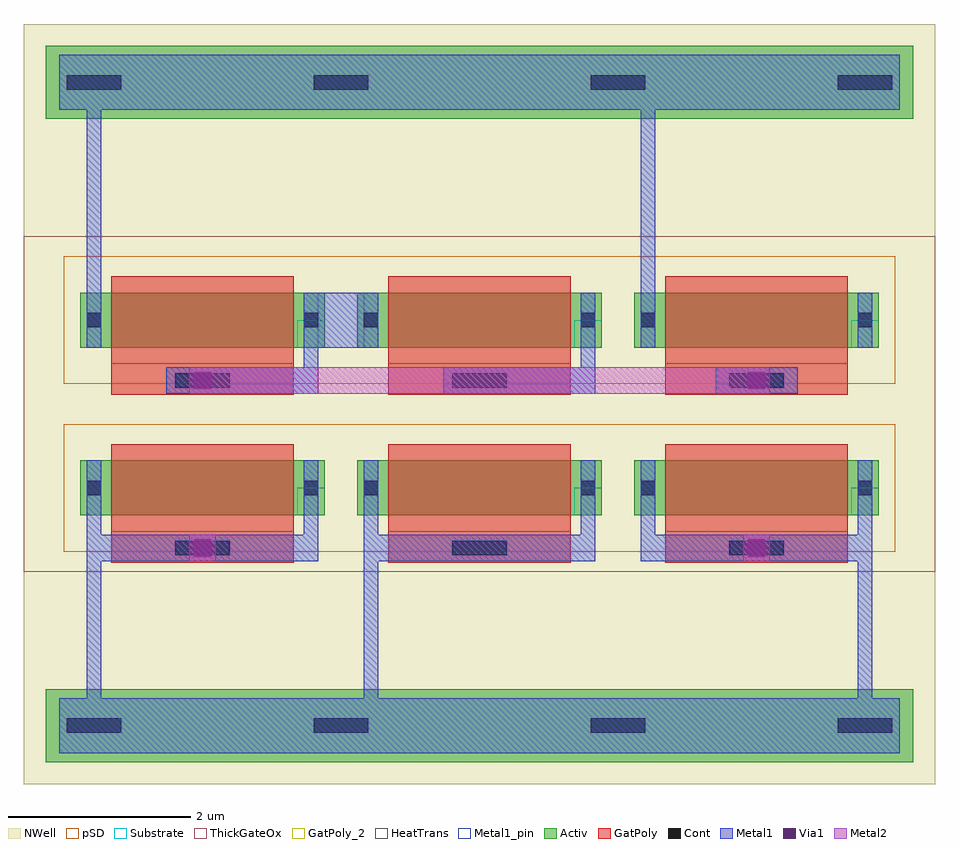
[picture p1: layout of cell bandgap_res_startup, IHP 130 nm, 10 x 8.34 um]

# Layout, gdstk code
import gdstk
lib = gdstk.Library(unit=1e-6, precision=1e-09)
def R(c, l, rs):  # rectangles x0, y0, x1, y1
    for r in rs: c.add(gdstk.rectangle(r[:2], r[2:], *l))
def A(c, l, x, y, w, h, nx, ny, dx, dy):  # array of equal rectangles
    R(c, l, [(x+i*dx, y+j*dy, x+i*dx+w, y+j*dy+h) for i in range(nx) for j in range(ny)])
Activ = (1, 0)
GatPoly = (5, 0)
GatPoly_2 = (5, 2)
Cont = (6, 0)
Metal1 = (8, 0)
Metal1_pin = (8, 2)
Metal2 = (10, 0)
pSD = (14, 0)
Via1 = (19, 0)
NWell = (31, 0)
Substrate = (40, 0)
ThickGateOx = (44, 0)
HeatTrans = (51, 0)

pmoshv_6 = lib.new_cell('pmosHV$6')
R(pmoshv_6, Activ, [(0,0,0.3,0.3), (0,0,2.68,0.6), (2.38,0,2.68,0.3)])
R(pmoshv_6, GatPoly, [(0.34,-0.18,2.34,0.78)])
R(pmoshv_6, GatPoly_2, [(0.34,-0.18,2.34,0.78)])
R(pmoshv_6, Cont, [(0.07,0.22,0.23,0.38), (2.45,0.22,2.61,0.38)])
R(pmoshv_6, Metal1, [(0.07,0,0.23,0.6), (2.45,0,2.61,0.6)])
R(pmoshv_6, Metal1_pin, [(0.07,0,0.23,0.6), (2.45,0,2.61,0.6)])
R(pmoshv_6, pSD, [(-0.18,-0.4,2.86,1)])
R(pmoshv_6, NWell, [(-0.62,-0.62,3.3,1.22)])
R(pmoshv_6, Substrate, [(2.38,0,2.68,0.3)])
R(pmoshv_6, ThickGateOx, [(-0.62,-0.62,3.3,1.22)])
R(pmoshv_6, HeatTrans, [(0.34,-0.18,2.34,0.78)])
pmoshv_6.add(gdstk.Label('pmosHV', (1.34,0.3), layer=63, texttype=0))
pmoshv_6.add(gdstk.Label('pmos', (1.34,0.3), layer=51, texttype=0))

via_stack_1 = lib.new_cell('via_stack$1')
R(via_stack_1, Metal1, [(-0.145,-0.145,0.145,0.145)])
R(via_stack_1, Metal2, [(-0.145,-0.145,0.145,0.145)])
R(via_stack_1, Via1, [(-0.095,-0.095,0.095,0.095)])

bandgap_res_startup = lib.new_cell('bandgap_res_startup')
A(bandgap_res_startup, Cont, 1.95, 11.56, 0.6, 0.16, 3, 2, 3.04, 1.84)
R(bandgap_res_startup, Cont, [(0.76,9.61,1.36,9.77), (0.76,9.61,1.36,9.77), (3.47,9.61,4.07,9.77), (3.47,9.61,4.07,9.77), (6.51,9.61,7.11,9.77), (6.51,9.61,7.11,9.77), (9.22,9.61,9.82,9.77), (9.22,9.61,9.82,9.77), (0.76,16.67,1.36,16.83), (0.76,16.67,1.36,16.83), (3.47,16.67,4.07,16.83), (3.47,16.67,4.07,16.83), (6.51,16.67,7.11,16.83), (6.51,16.67,7.11,16.83), (9.22,16.67,9.82,16.83), (9.22,16.67,9.82,16.83)])
R(bandgap_res_startup, NWell, [(0.29,9.05,10.29,11.38), (0.29,9.05,10.29,11.38), (0.29,15.06,10.29,17.39), (0.29,15.06,10.29,17.39)])
bandgap_res_startup.add(gdstk.FlexPath([(0.53,16.75),(10.05,16.75)], 0.8, ends="flush", simple_path=True, layer=1, datatype=0))  # Activ
bandgap_res_startup.add(gdstk.FlexPath([(0.53,16.75),(10.05,16.75)], 0.8, ends="flush", simple_path=True, layer=1, datatype=0))  # Activ
bandgap_res_startup.add(gdstk.FlexPath([(0.53,9.69),(10.05,9.69)], 0.8, ends="flush", simple_path=True, layer=1, datatype=0))  # Activ
bandgap_res_startup.add(gdstk.FlexPath([(0.53,9.69),(10.05,9.69)], 0.8, ends="flush", simple_path=True, layer=1, datatype=0))  # Activ
bandgap_res_startup.add(gdstk.FlexPath([(2.25,14.62),(2.25,13.32)], 2, ends="flush", simple_path=True, layer=5, datatype=0))  # GatPoly
bandgap_res_startup.add(gdstk.FlexPath([(5.29,14.62),(5.29,13.32)], 2, ends="flush", simple_path=True, layer=5, datatype=0))  # GatPoly
bandgap_res_startup.add(gdstk.FlexPath([(8.33,14.62),(8.33,13.32)], 2, ends="flush", simple_path=True, layer=5, datatype=0))  # GatPoly
bandgap_res_startup.add(gdstk.FlexPath([(2.25,12.78),(2.25,11.48)], 2, ends="flush", simple_path=True, layer=5, datatype=0))  # GatPoly
bandgap_res_startup.add(gdstk.FlexPath([(5.29,12.78),(5.29,11.48)], 2, ends="flush", simple_path=True, layer=5, datatype=0))  # GatPoly
bandgap_res_startup.add(gdstk.FlexPath([(8.33,12.78),(8.33,11.48)], 2, ends="flush", simple_path=True, layer=5, datatype=0))  # GatPoly
bandgap_res_startup.add(gdstk.FlexPath([(3.36,14.14),(4.18,14.14)], 0.6, ends="flush", simple_path=True, layer=8, datatype=0))  # Metal1
bandgap_res_startup.add(gdstk.FlexPath([(1.85,13.48),(3.52,13.48)], 0.29, ends="flush", simple_path=True, layer=8, datatype=0))  # Metal1
bandgap_res_startup.add(gdstk.FlexPath([(4.89,13.48),(6.56,13.48)], 0.29, ends="flush", simple_path=True, layer=8, datatype=0))  # Metal1
bandgap_res_startup.add(gdstk.FlexPath([(6.48,14.44),(6.48,13.335)], 0.16, ends="flush", simple_path=True, layer=8, datatype=0))  # Metal1
bandgap_res_startup.add(gdstk.FlexPath([(7.88,13.48),(8.78,13.48)], 0.29, ends="flush", simple_path=True, layer=8, datatype=0))  # Metal1
bandgap_res_startup.add(gdstk.FlexPath([(0.68,16.75),(9.9,16.75)], 0.6, ends="flush", simple_path=True, layer=8, datatype=0))  # Metal1
bandgap_res_startup.add(gdstk.FlexPath([(1.06,13.84),(1.06,17.05)], 0.16, ends="flush", simple_path=True, layer=8, datatype=0))  # Metal1
bandgap_res_startup.add(gdstk.FlexPath([(7.14,13.84),(7.14,17.05)], 0.16, ends="flush", simple_path=True, layer=8, datatype=0))  # Metal1
bandgap_res_startup.add(gdstk.FlexPath([(4.1,12.6),(4.1,9.39)], 0.16, ends="flush", simple_path=True, layer=8, datatype=0))  # Metal1
bandgap_res_startup.add(gdstk.FlexPath([(0.98,11.64),(3.52,11.64)], 0.29, ends="flush", simple_path=True, layer=8, datatype=0))  # Metal1
bandgap_res_startup.add(gdstk.FlexPath([(3.44,12.6),(3.44,11.495)], 0.16, ends="flush", simple_path=True, layer=8, datatype=0))  # Metal1
bandgap_res_startup.add(gdstk.FlexPath([(4.02,11.64),(6.56,11.64)], 0.29, ends="flush", simple_path=True, layer=8, datatype=0))  # Metal1
bandgap_res_startup.add(gdstk.FlexPath([(6.48,12.6),(6.48,11.495)], 0.16, ends="flush", simple_path=True, layer=8, datatype=0))  # Metal1
bandgap_res_startup.add(gdstk.FlexPath([(7.06,11.64),(9.6,11.64)], 0.29, ends="flush", simple_path=True, layer=8, datatype=0))  # Metal1
bandgap_res_startup.add(gdstk.FlexPath([(0.68,16.75),(9.9,16.75)], 0.6, ends="flush", simple_path=True, layer=8, datatype=0))  # Metal1
bandgap_res_startup.add(gdstk.FlexPath([(0.68,9.69),(9.9,9.69)], 0.6, ends="flush", simple_path=True, layer=8, datatype=0))  # Metal1
bandgap_res_startup.add(gdstk.FlexPath([(0.68,9.69),(9.9,9.69)], 0.6, ends="flush", simple_path=True, layer=8, datatype=0))  # Metal1
bandgap_res_startup.add(gdstk.FlexPath([(1.06,12.6),(1.06,9.39)], 0.16, ends="flush", simple_path=True, layer=8, datatype=0))  # Metal1
bandgap_res_startup.add(gdstk.FlexPath([(3.44,14.44),(3.44,13.335)], 0.16, ends="flush", simple_path=True, layer=8, datatype=0))  # Metal1
bandgap_res_startup.add(gdstk.FlexPath([(9.52,12.6),(9.52,9.39)], 0.16, ends="flush", simple_path=True, layer=8, datatype=0))  # Metal1
bandgap_res_startup.add(gdstk.FlexPath([(7.14,12.6),(7.14,11.495)], 0.16, ends="flush", simple_path=True, layer=8, datatype=0))  # Metal1
bandgap_res_startup.add(gdstk.FlexPath([(2.105,13.48),(8.475,13.48)], 0.29, ends="flush", simple_path=True, layer=10, datatype=0))  # Metal2
bandgap_res_startup.add(gdstk.Reference(pmoshv_6, (0.91,13.84)))
bandgap_res_startup.add(gdstk.Reference(pmoshv_6, (3.95,13.84)))
bandgap_res_startup.add(gdstk.Reference(pmoshv_6, (6.99,13.84)))
bandgap_res_startup.add(gdstk.Reference(via_stack_1, (2.25,13.48)))
bandgap_res_startup.add(gdstk.Reference(via_stack_1, (8.33,13.48)))
bandgap_res_startup.add(gdstk.Reference(pmoshv_6, (0.91,12)))
bandgap_res_startup.add(gdstk.Reference(pmoshv_6, (3.95,12)))
bandgap_res_startup.add(gdstk.Reference(pmoshv_6, (6.99,12)))
bandgap_res_startup.add(gdstk.Reference(via_stack_1, (2.25,11.64)))
bandgap_res_startup.add(gdstk.Reference(via_stack_1, (8.33,11.64)))

lib.write_gds('bandgap_res_startup.gds')
